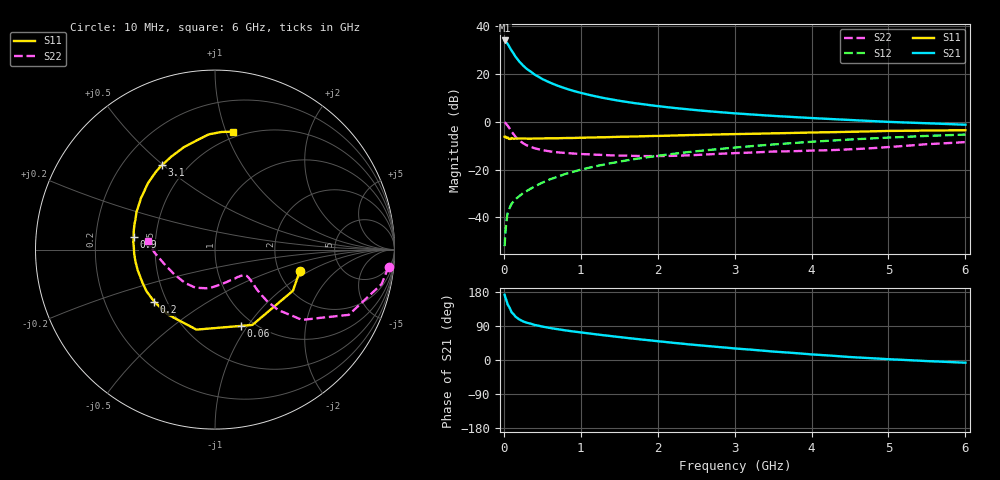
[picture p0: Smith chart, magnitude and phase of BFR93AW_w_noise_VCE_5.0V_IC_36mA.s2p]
! Infineon Technologies  Discrete & RF Semiconductors
! BFR93AW
! VCE =  5.0 V,  IC =  36 mA
! Common Emitter S-Parameters:  Jan 2017
# GHz  S  MA  R  50
!  f  S11  S21  S12  S22
! GHz  MAG  ANG  MAG  ANG  MAG  ANG  MAG  ANG
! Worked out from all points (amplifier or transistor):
!   77 points, 10 MHz to 6 GHz, reference 50 ohm
!   highest |S21| = 34.0 dB at 10 MHz (marker M1)
!   |S21| within 3 dB of that: start of sweep to 77.79 MHz
!   unconditionally stable (mu >= 1): 548.1 MHz to 2.021 GHz
!   at 130 MHz: K = 0.56, MSG = 30.8 dB, |S12| = -33.2 dB
!   at 2.2 GHz: K = 0.99, MSG = 9.6 dB, |S12| = -13.4 dB
!   at 6 GHz: K = 0.88, MSG = 2.1 dB, |S12| = -5.4 dB
!   lowest NFmin = 1.95 dB at 450 MHz
!   S11 on the Smith chart (normalised r, x): 10 MHz: 2.61, -0.81; 60 MHz: 0.88, -0.93; 200 MHz: 0.43, -0.31; 900 MHz: 0.37, +0.07; 3.1 GHz: 0.36, +0.50; 6 GHz: 0.45, +1.06
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0.01  0.4872 -14.1  50.21 172.1  0.0025 81.9  0.9717 -5.6
0.02  0.4911 -27.8  49.55 165.2  0.0048 82.4  0.9481 -11.7
0.05  0.4686 -63.6  42.53 146.3  0.0125 70.2  0.8293 -26.0
0.06  0.4494 -71.0  39.9 143.2  0.0138 67.8  0.7855 -28.0
0.1  0.4576 -103.0  30.97 126.0  0.0191 61.6  0.6235 -38.9
0.15  0.4466 -125.6  23.23 114.5  0.024 59.4  0.4883 -43.7
0.2  0.446 -139.3  18.29 107.2  0.0277 61.6  0.4073 -44.7
0.25  0.4466 -148.8  15.03 101.9  0.0323 61.6  0.356 -44.3
0.3  0.4441 -155.4  12.69 98.3  0.0358 63.9  0.32 -43.5
0.4  0.4457 -164.9  9.723 92.5  0.0443 66.9  0.279 -41.6
0.5  0.4485 -171.8  7.84 88.2  0.0532 68.3  0.2551 -40.3
0.6  0.4508 -177.3  6.594 84.5  0.0626 69.9  0.2402 -39.8
0.7  0.4522 178.6  5.673 81.3  0.0708 70.5  0.2296 -39.7
0.9  0.4578 171.1  4.442 75.4  0.0898 70.5  0.217 -41.3
1.1  0.4672 164.8  3.679 70.3  0.1086 70.6  0.2085 -44.1
1.3  0.4741 159.2  3.138 65.3  0.127 69.5  0.2021 -47.9
1.5  0.4849 154.5  2.75 60.6  0.1461 68.5  0.1964 -53.1
2.1  0.5101 140.9  2.04 47.6  0.2036 64.2  0.1927 -73.0
3.1  0.5558 121.9  1.465 29.0  0.2976 55.1  0.2234 -106.0
4.1  0.5996 105.4  1.174 13.5  0.3902 44.8  0.2512 -135.3
5.1  0.6454 91.7  0.982 1.2  0.4744 33.8  0.3036 -167.9
6  0.6649 81.2  0.868 -7.2  0.5399 23.7  0.3756 172.5
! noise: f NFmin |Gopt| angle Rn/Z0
0.45  1.95  0.21  178  0.16
0.9  2.22  0.28  -172  0.17
1.9  3.28  0.52  -134  0.32
2.4  3.96  0.56  -123  0.61
